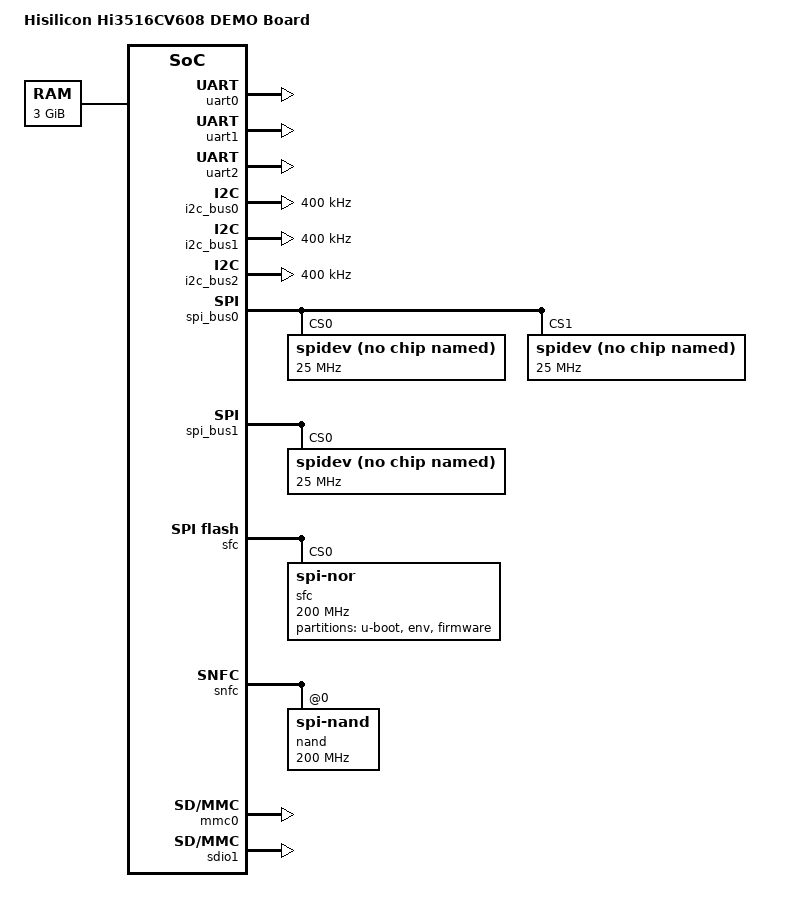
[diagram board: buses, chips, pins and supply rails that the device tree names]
/*
 * Copyright (c) 2013-2014 Linaro Ltd.
 * Copyright (c) 2015-2017 HiSilicon Technologies Co., Ltd.
 *
 * This program is free software; you can redistribute  it and/or modify it
 * under  the terms of  the GNU General  Public License as published by the
 * Free Software Foundation;  either version 2 of the  License, or (at your
 * option) any later version.
 *
 * This program is distributed in the hope that it will be useful,
 * but WITHOUT ANY WARRANTY; without even the implied warranty of
 * MERCHANTABILITY or FITNESS FOR A PARTICULAR PURPOSE. See the
 * GNU General Public License for more details.
 *
 * You should have received a copy of the GNU General Public License
 * along with this program.  If not, see <http://www.gnu.org/licenses/>.
 *
 */

/dts-v1/;

/ {
	model = "Hisilicon Hi3516CV608 DEMO Board";
	compatible = "hisilicon,hi3516cv608";

	memory {
		device_type = "memory";
		reg = <0x40000000 0xC0000000>;
	};
};
#include "hi3516cv608.dtsi"
#include "hi3516cv608_family_usb.dtsi"
&uart0 {
	status = "okay";
};

&uart1 {
	status = "okay";
};

&uart2 {
	status = "okay";
};

&i2c_bus0 {
    status = "okay";
    clock-frequency = <400000>;
};

&i2c_bus1 {
    status = "okay";
    clock-frequency = <400000>;
};

&i2c_bus2 {
    status = "okay";
    clock-frequency = <400000>;
};

&spi_bus0{
    status = "okay";

    spidev@0 {
        compatible = "rohm,dh2228fv";
        reg = <0>;
        pl022,interface = <0>;
        pl022,com-mode = <0>;
        spi-max-frequency = <25000000>;
    };

    spidev@1 {
        compatible = "rohm,dh2228fv";
        reg = <1>;
        pl022,interface = <0>;
        pl022,com-mode = <0>;
        spi-max-frequency = <25000000>;
    };
};

&spi_bus1 {
	status = "okay";

	spidev@0 {
		compatible = "rohm,dh2228fv";
		reg = <0>;
		pl022,interface = <0>;
		pl022,com-mode = <0>;
		spi-max-frequency = <25000000>;
	};
};

&mdio0 {
	phy-reset-delays-us = <10000 20000 150000>;
	status = "disabled";
	phy0: ethernet-phy@1 {
		// reg = <0>;
	};
};

&femac0 {
	mac-address = [00 00 00 00 00 00];
	phy-mode = "mii";
	phy-handle = <&phy0>;
	status = "disabled";
};

&sfc {
	sfc@0 {
		   compatible = "jedec,spi-nor";
		   reg = <0>;
		   spi-max-frequency = <200000000>;

		/*
		 * The split NOR layout: U-Boot, its environment, and one
		 * "firmware" partition from 0x50000 to the end of the chip, which
		 * mtdsplit divides into kernel, rootfs and rootfs_data. The driver
		 * takes it over a bootloader's mtdparts only when the flash holds
		 * that shape (a uImage, then the squashfs at the next block).
		 */
		partitions {
			compatible = "fixed-partitions";
			#address-cells = <1>;
			#size-cells = <1>;

			u-boot@0 {
				label = "u-boot";
				reg = <0x0 0x40000>;
			};

			env@40000 {
				label = "env";
				reg = <0x40000 0x10000>;
			};

			firmware@50000 {
				label = "firmware";
				reg = <0x50000 0x0>;
			};
		};
	};
};

&snfc {
	nand@0 {
		   compatible = "jedec,spi-nand";
		   reg = <0>;
		   spi-max-frequency = <200000000>;
	};
};

&mmc0 {
	status = "okay";
};

&sdio0 {
	status = "disabled";
};

&sdio1 {
	status = "okay";
};

&gpio_chip0 {
	status = "okay";
};

&gpio_chip1 {
	status = "okay";
};

&gpio_chip2 {
	status = "okay";
};

&gpio_chip3 {
	status = "okay";
};

&gpio_chip4 {
	status = "okay";
};

&gpio_chip5 {
	status = "okay";
};

&gpio_chip6 {
	status = "okay";
};

&gpio_chip7 {
	status = "okay";
};

&gpio_chip8 {
	status = "okay";
};

&gpio_chip9 {
	status = "okay";
};

&gpio_chip10 {
	status = "okay";
};
